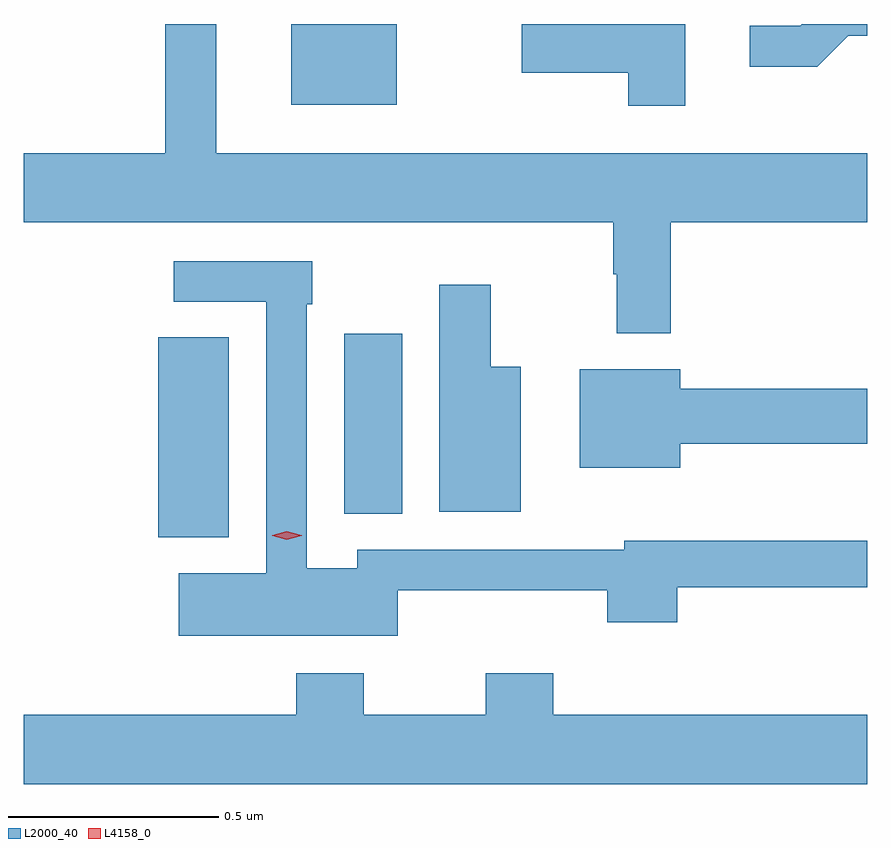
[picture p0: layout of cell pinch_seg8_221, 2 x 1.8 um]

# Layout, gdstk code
import gdstk
lib = gdstk.Library(unit=1e-6, precision=1e-09)
def R(c, l, rs):  # rectangles x0, y0, x1, y1
    for r in rs: c.add(gdstk.rectangle(r[:2], r[2:], *l))
def P(c, l, *ps):  # polygons
    for p in ps: c.add(gdstk.Polygon(p, *l))
L2000_40 = (2000, 40)
L4158_0 = (4158, 0)

pinch_seg8_221 = lib.new_cell('pinch_seg8_221')
R(pinch_seg8_221, L2000_40, [(720.806,1107.761,720.973,1108.235), (721.247,1107.817,721.384,1108.243), (721.121,1108.787,721.372,1108.978)])
P(pinch_seg8_221, L2000_40, [(722.021,1108.508),(722.487,1108.508),(722.487,1108.672),(720.943,1108.672),(720.943,1108.978),(720.822,1108.978),(720.822,1108.672),(720.487,1108.672),(720.487,1108.508),(721.885,1108.508),(721.885,1108.385),(721.893,1108.385),(721.893,1108.245),(722.021,1108.245)],
  [(722.442,1108.95),(722.487,1108.95),(722.487,1108.978),(722.332,1108.978),(722.328,1108.974),(722.208,1108.974),(722.208,1108.877),(722.369,1108.877)],
  [(722.056,1108.978),(721.668,1108.978),(721.668,1108.862),(721.92,1108.862),(721.92,1108.784),(722.056,1108.784)],
  [(721.374,1107.635),(721.871,1107.635),(721.871,1107.56),(722.036,1107.56),(722.036,1107.642),(722.487,1107.642),(722.487,1107.753),(721.911,1107.753),(721.911,1107.732),(721.278,1107.732),(721.278,1107.688),(721.158,1107.688),(721.158,1108.313),(721.171,1108.313),(721.171,1108.416),(720.843,1108.416),(720.843,1108.32),(721.062,1108.32),(721.062,1107.676),(720.855,1107.676),(720.855,1107.527),(721.374,1107.527)],
  [(721.666,1108.165),(721.594,1108.165),(721.594,1108.36),(721.472,1108.36),(721.472,1107.821),(721.666,1107.821)],
  [(722.044,1107.983),(722.487,1107.983),(722.487,1108.113),(722.044,1108.113),(722.044,1108.159),(721.805,1108.159),(721.805,1107.926),(722.044,1107.926)],
  [(722.487,1107.34),(721.742,1107.34),(721.742,1107.439),(721.582,1107.439),(721.582,1107.34),(721.293,1107.34),(721.293,1107.439),(721.133,1107.439),(721.133,1107.34),(720.487,1107.34),(720.487,1107.176),(722.487,1107.176)])
P(pinch_seg8_221, L4158_0, [(721.111,1107.755),(721.076,1107.765),(721.076,1107.765),(721.076,1107.766),(721.111,1107.775),(721.146,1107.766),(721.146,1107.765),(721.146,1107.765)])

lib.write_gds('pinch_seg8_221.gds')
